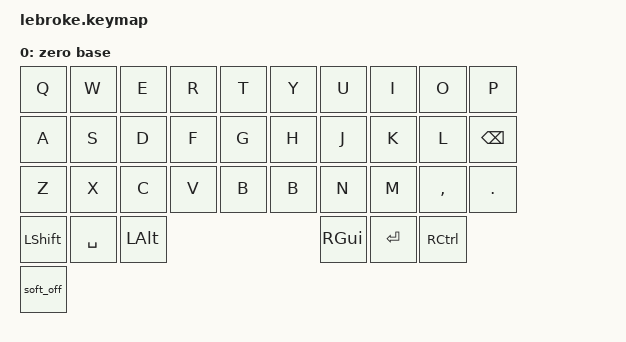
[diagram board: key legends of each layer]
#include <behaviors.dtsi>
#include <dt-bindings/zmk/keys.h>
#include <dt-bindings/zmk/outputs.h>

/ {
	keymap {
		compatible = "zmk,keymap";
		zero {
			display-name = "zero base";
			bindings = <
				&kp Q &kp W &kp E &kp R &kp T &kp Y &kp U &kp I &kp O &kp P
				&kp A &kp S &kp D &kp F &kp G &kp H &kp J &kp K &kp L &kp BSPC
				&kp Z &kp X &kp C &kp V &kp B &kp B &kp N &kp M &kp COMMA &kp DOT
				&kp LSHIFT &kp SPACE &kp LALT &kp RGUI &kp RET &kp RCTRL
				&soft_off
			>;
		};
		one { 
			status = "reserved";
		};
		two { 
			status = "reserved";
		};
		three { 
			status = "reserved";
		};
		four { 
			status = "reserved";
		};
		five { 
			status = "reserved";
		};
		six { 
			status = "reserved";
		};
		seven { 
			status = "reserved";
		};
		eight { 
			status = "reserved";
		};
		nine { 
			status = "reserved";
		};
	};
};
